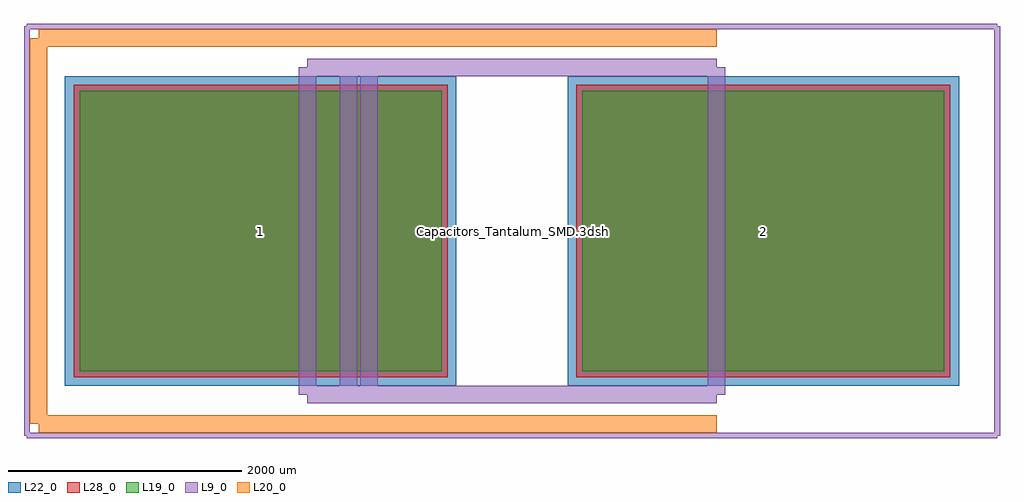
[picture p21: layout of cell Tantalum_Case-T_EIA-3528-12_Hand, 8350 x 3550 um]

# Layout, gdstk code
import gdstk
lib = gdstk.Library(unit=1e-6, precision=1e-09)
def R(c, l, rs):  # rectangles x0, y0, x1, y1
    for r in rs: c.add(gdstk.rectangle(r[:2], r[2:], *l))
L9_0 = (9, 0)
L19_0 = (19, 0)
L20_0 = (20, 0)
L22_0 = (22, 0)
L28_0 = (28, 0)

tantalum_case_t_eia_3528 = lib.new_cell('Tantalum_Case-T_EIA-3528-12_Hand')
R(tantalum_case_t_eia_3528, L19_0, [(-3700,-1200,-600,1200), (600,-1200,3700,1200)])
R(tantalum_case_t_eia_3528, L22_0, [(-3825,-1325,-475,1325), (475,-1325,3825,1325)])
R(tantalum_case_t_eia_3528, L28_0, [(-3750,-1250,-550,1250), (550,-1250,3750,1250)])
tantalum_case_t_eia_3528.add(gdstk.FlexPath([(-4050,1650),(-4050,-1650)], 149.998, ends="flush", simple_path=True, layer=20, datatype=0))  # L20_0
tantalum_case_t_eia_3528.add(gdstk.FlexPath([(-4050,-1650),(1750,-1650)], 149.998, ends="flush", simple_path=True, layer=20, datatype=0))  # L20_0
tantalum_case_t_eia_3528.add(gdstk.FlexPath([(-4050,1650),(1750,1650)], 149.998, ends="flush", simple_path=True, layer=20, datatype=0))  # L20_0
tantalum_case_t_eia_3528.add(gdstk.FlexPath([(-1225,1400),(-1225,-1400)], 149.998, ends="flush", simple_path=True, layer=9, datatype=0))  # L9_0
tantalum_case_t_eia_3528.add(gdstk.FlexPath([(-1400,1400),(-1400,-1400)], 149.998, ends="flush", simple_path=True, layer=9, datatype=0))  # L9_0
tantalum_case_t_eia_3528.add(gdstk.FlexPath([(1750,1400),(-1750,1400)], 149.998, ends="flush", simple_path=True, layer=9, datatype=0))  # L9_0
tantalum_case_t_eia_3528.add(gdstk.FlexPath([(1750,-1400),(1750,1400)], 149.998, ends="flush", simple_path=True, layer=9, datatype=0))  # L9_0
tantalum_case_t_eia_3528.add(gdstk.FlexPath([(-1750,-1400),(1750,-1400)], 149.998, ends="flush", simple_path=True, layer=9, datatype=0))  # L9_0
tantalum_case_t_eia_3528.add(gdstk.FlexPath([(-1750,1400),(-1750,-1400)], 149.998, ends="flush", simple_path=True, layer=9, datatype=0))  # L9_0
tantalum_case_t_eia_3528.add(gdstk.FlexPath([(4150,1750),(-4150,1750)], 50, ends="flush", simple_path=True, layer=9, datatype=0))  # L9_0
tantalum_case_t_eia_3528.add(gdstk.FlexPath([(4150,-1750),(4150,1750)], 50, ends="flush", simple_path=True, layer=9, datatype=0))  # L9_0
tantalum_case_t_eia_3528.add(gdstk.FlexPath([(-4150,-1750),(4150,-1750)], 50, ends="flush", simple_path=True, layer=9, datatype=0))  # L9_0
tantalum_case_t_eia_3528.add(gdstk.FlexPath([(-4150,1750),(-4150,-1750)], 50, ends="flush", simple_path=True, layer=9, datatype=0))  # L9_0
tantalum_case_t_eia_3528.add(gdstk.Label('Capacitors_Tantalum_SMD.3dshapes/Tantalum_Case-T_EIA-3528-12.wrl', (0,0), layer=12, texttype=0))
tantalum_case_t_eia_3528.add(gdstk.Label('2', (2150,0), layer=28, texttype=0))
tantalum_case_t_eia_3528.add(gdstk.Label('1', (-2150,0), layer=28, texttype=0))
tantalum_case_t_eia_3528.add(gdstk.Label('type', (0,-3150), layer=9, texttype=0))
tantalum_case_t_eia_3528.add(gdstk.Label('devicename', (0,3150), layer=9, texttype=0))

lib.write_gds('Tantalum_Case-T_EIA-3528-12_Hand.gds')
